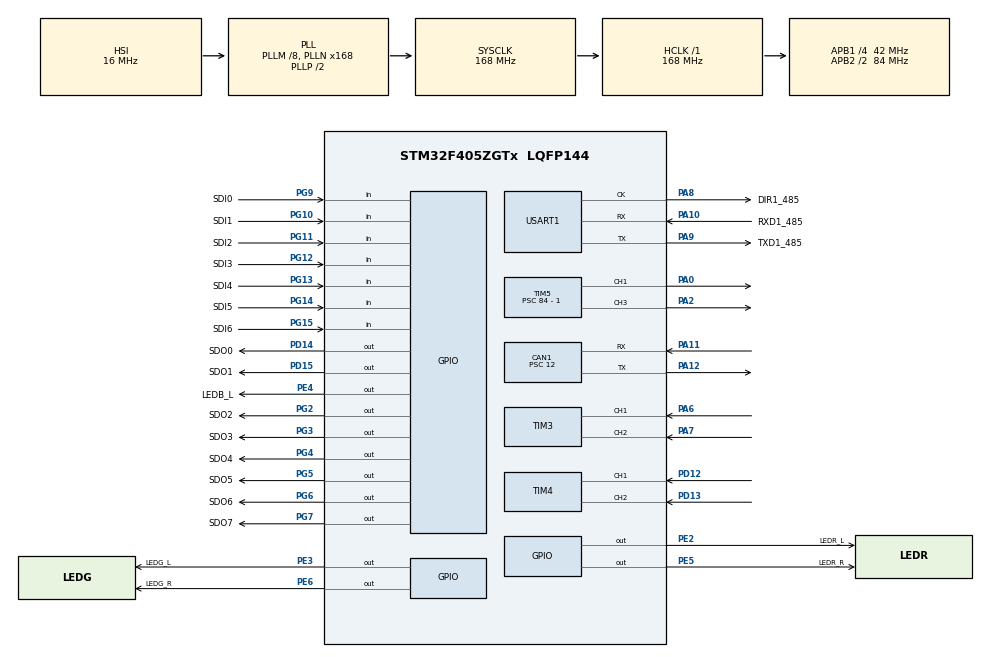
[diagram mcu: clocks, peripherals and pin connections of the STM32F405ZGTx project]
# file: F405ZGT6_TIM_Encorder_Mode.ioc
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CAN1.BS1=CAN_BS1_11TQ
CAN1.BS2=CAN_BS2_2TQ
CAN1.CalculateBaudRate=250000
CAN1.CalculateTimeBit=4000
CAN1.CalculateTimeQuantum=285.7142857142857
CAN1.Prescaler=12
Mcu.Family=STM32F4
Mcu.Name=STM32F405ZGTx
Mcu.Package=LQFP144
NVIC.CAN1_RX0_IRQn=true\:0\:0\:false\:false\:true\:true\:true\:true
NVIC.CAN1_RX1_IRQn=true\:0\:0\:false\:false\:true\:true\:true\:true
NVIC.CAN1_SCE_IRQn=true\:0\:0\:false\:false\:true\:true\:true\:true
NVIC.CAN1_TX_IRQn=true\:0\:0\:false\:false\:true\:true\:true\:true
NVIC.PriorityGroup=NVIC_PRIORITYGROUP_4
PA0-WKUP.Signal=S_TIM5_CH1
PA10.GPIO_Label=RXD1_485
PA10.Mode=Synchronous
PA10.Signal=USART1_RX
PA11.Mode=CAN_Activate
PA11.Signal=CAN1_RX
PA12.Mode=CAN_Activate
PA12.Signal=CAN1_TX
PA13.Mode=JTAG_5_pins
PA13.Signal=SYS_JTMS-SWDIO
PA14.Mode=JTAG_5_pins
PA14.Signal=SYS_JTCK-SWCLK
PA15.Mode=JTAG_5_pins
PA15.Signal=SYS_JTDI
PA2.Signal=S_TIM5_CH3
PA6.Signal=S_TIM3_CH1
PA7.Signal=S_TIM3_CH2
PA8.GPIO_Label=DIR1_485
PA8.Mode=Synchronous
PA8.Signal=USART1_CK
PA9.GPIO_Label=TXD1_485
PA9.Mode=Synchronous
PA9.Signal=USART1_TX
PB3.Mode=JTAG_5_pins
PB3.Signal=SYS_JTDO-SWO
PB4.Mode=JTAG_5_pins
PB4.Signal=SYS_JTRST
PD12.Signal=S_TIM4_CH1
PD13.Signal=S_TIM4_CH2
PD14.GPIO_Label=SDO0
PD14.Signal=GPIO_Output
PD15.GPIO_Label=SDO1
PD15.Signal=GPIO_Output
PE2.GPIO_Label=LEDR_L
PE2.Signal=GPIO_Output
PE3.GPIO_Label=LEDG_L
PE3.Signal=GPIO_Output
PE4.GPIO_Label=LEDB_L
PE4.Signal=GPIO_Output
PE5.GPIO_Label=LEDR_R
PE5.Signal=GPIO_Output
PE6.GPIO_Label=LEDG_R
PE6.Signal=GPIO_Output
PG10.GPIO_Label=SDI1
PG10.Signal=GPIO_Input
PG11.GPIO_Label=SDI2
PG11.Signal=GPIO_Input
PG12.GPIO_Label=SDI3
PG12.Signal=GPIO_Input
PG13.GPIO_Label=SDI4
PG13.Signal=GPIO_Input
PG14.GPIO_Label=SDI5
PG14.Signal=GPIO_Input
PG15.GPIO_Label=SDI6
PG15.Signal=GPIO_Input
PG2.GPIO_Label=SDO2
PG2.Signal=GPIO_Output
PG3.GPIO_Label=SDO3
PG3.Signal=GPIO_Output
PG4.GPIO_Label=SDO4
PG4.Signal=GPIO_Output
PG5.GPIO_Label=SDO5
PG5.Signal=GPIO_Output
PG6.GPIO_Label=SDO6
PG6.Signal=GPIO_Output
PG7.GPIO_Label=SDO7
PG7.Signal=GPIO_Output
PG9.GPIO_Label=SDI0
PG9.Signal=GPIO_Input
PH0-OSC_IN.Mode=HSE-External-Oscillator
PH0-OSC_IN.Signal=RCC_OSC_IN
PH1-OSC_OUT.Mode=HSE-External-Oscillator
PH1-OSC_OUT.Signal=RCC_OSC_OUT
ProjectManager.HeapSize=0x200
ProjectManager.StackSize=0x400
ProjectManager.TargetToolchain=STM32CubeIDE
RCC.48MHZClocksFreq_Value=84000000
RCC.AHBFreq_Value=168000000
RCC.APB1CLKDivider=RCC_HCLK_DIV4
RCC.APB1Freq_Value=42000000
RCC.APB1TimFreq_Value=84000000
RCC.APB2CLKDivider=RCC_HCLK_DIV2
RCC.APB2Freq_Value=84000000
RCC.APB2TimFreq_Value=168000000
RCC.CortexFreq_Value=168000000
RCC.HCLKFreq_Value=168000000
RCC.HSE_VALUE=8000000
RCC.HSI_VALUE=16000000
RCC.LSE_VALUE=32768
RCC.PLLM=8
RCC.PLLN=168
RCC.SYSCLKFreq_VALUE=168000000
RCC.SYSCLKSource=RCC_SYSCLKSOURCE_PLLCLK
RCC.VCOOutputFreq_Value=336000000
SH.S_TIM3_CH1.0=TIM3_CH1,Encoder_Interface
SH.S_TIM3_CH2.0=TIM3_CH2,Encoder_Interface
SH.S_TIM4_CH1.0=TIM4_CH1,Encoder_Interface
SH.S_TIM4_CH2.0=TIM4_CH2,Encoder_Interface
SH.S_TIM5_CH1.0=TIM5_CH1,PWM Generation1 CH1
SH.S_TIM5_CH3.0=TIM5_CH3,PWM Generation3 CH3
TIM3.EncoderMode=TIM_ENCODERMODE_TI12
TIM5.AutoReloadPreload=TIM_AUTORELOAD_PRELOAD_ENABLE
TIM5.Channel-PWM\ Generation1\ CH1=TIM_CHANNEL_1
TIM5.Channel-PWM\ Generation3\ CH3=TIM_CHANNEL_3
TIM5.OCPolarity_1=TIM_OCPOLARITY_HIGH
TIM5.OCPolarity_3=TIM_OCPOLARITY_HIGH
TIM5.Period=1000-1
TIM5.Prescaler=84 - 1 
USART1.VirtualMode=VM_SYNC
VP_TIM5_VS_ClockSourceINT.Mode=Internal
board=custom

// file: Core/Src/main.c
/* USER CODE BEGIN Header */
/**
  ******************************************************************************
  * @file           : main.c
  * @brief          : Main program body
  ******************************************************************************
  * @attention
  *
  * Copyright (c) 2024 STMicroelectronics.
  * All rights reserved.
  *
  * This software is licensed under terms that can be found in the LICENSE file
  * in the root directory of this software component.
  * If no LICENSE file comes with this software, it is provided AS-IS.
  *
  ******************************************************************************
  */
/* USER CODE END Header */
#include "main.h"

/* USER CODE BEGIN PTD */
typedef struct
{
	uint16_t encoder_cnt;
	uint8_t	rotate_dir;	// 0:CCW, 1: CW
} Encoder_StatusTypeDef;

/* USER CODE END PTD */

CAN_HandleTypeDef hcan1;

TIM_HandleTypeDef htim3;
TIM_HandleTypeDef htim4;
TIM_HandleTypeDef htim5;

USART_HandleTypeDef husart1;

/* USER CODE BEGIN PV */
uint32_t forward_encoder_cnt, backward_encoder_cnt;
uint32_t pre_encoder, cur_encoder;
Encoder_StatusTypeDef encoder_status;
uint8_t motor_on;
/* USER CODE END PV */

void SystemClock_Config(void);
static void MX_GPIO_Init(void);
static void MX_CAN1_Init(void);
static void MX_USART1_Init(void);
static void MX_TIM3_Init(void);
static void MX_TIM4_Init(void);
static void MX_TIM5_Init(void);
/* USER CODE BEGIN PFP */
Encoder_StatusTypeDef Encorder_Cnt(TIM_HandleTypeDef *htim);
/* USER CODE END PFP */

int main(void)
{

  /* MCU Configuration--------------------------------------------------------*/

  /* Reset of all peripherals, Initializes the Flash interface and the Systick. */
  HAL_Init();

  /* Configure the system clock */
  SystemClock_Config();

  /* Initialize all configured peripherals */
  MX_GPIO_Init();
  MX_CAN1_Init();
  MX_USART1_Init();
  MX_TIM3_Init();
  MX_TIM4_Init();
  MX_TIM5_Init();
  /* USER CODE BEGIN 2 */
  if (HAL_TIM_Encoder_Start(&htim3, TIM_CHANNEL_ALL) != HAL_OK)
  {
  	Error_Handler();
  }

	// servo on
	HAL_GPIO_WritePin(GPIOD, SDO0_Pin, GPIO_PIN_SET);
	HAL_GPIO_WritePin(GPIOG, SDO4_Pin, GPIO_PIN_SET);

	// EM2 release
	HAL_GPIO_WritePin(GPIOG, SDO3_Pin, GPIO_PIN_SET);
	HAL_GPIO_WritePin(GPIOG, SDO7_Pin, GPIO_PIN_SET);

	// LSP on
	HAL_GPIO_WritePin(GPIOG, SDO2_Pin, GPIO_PIN_SET);
	HAL_GPIO_WritePin(GPIOG, SDO6_Pin, GPIO_PIN_SET);

	// PWM on
	if (HAL_TIM_PWM_Start(&htim5, TIM_CHANNEL_1) != HAL_OK)
	{
		Error_Handler();
	}

  /* USER CODE END 2 */

  /* Infinite loop */
  while (1)
  {

    /* USER CODE BEGIN 3 */
  	if (motor_on)
  	{
  		htim5.Instance->ARR = 100-1;
  		htim5.Instance->CCR1 = 50;

  		encoder_status = Encorder_Cnt(&htim3);

			if (encoder_status.rotate_dir)
			{
				forward_encoder_cnt += encoder_status.encoder_cnt;
			}
			else
			{
				backward_encoder_cnt += encoder_status.encoder_cnt;
			}
  	}
  	else
  	{
  		htim5.Instance->CCR1 = 0;
  	}
//  	HAL_Delay(10);
  }
  /* USER CODE END 3 */
}

void SystemClock_Config(void)
{
  RCC_OscInitTypeDef RCC_OscInitStruct = {0};
  RCC_ClkInitTypeDef RCC_ClkInitStruct = {0};

  /** Configure the main internal regulator output voltage
  */
  __HAL_RCC_PWR_CLK_ENABLE();
  __HAL_PWR_VOLTAGESCALING_CONFIG(PWR_REGULATOR_VOLTAGE_SCALE1);

  /** Initializes the RCC Oscillators according to the specified parameters
  * in the RCC_OscInitTypeDef structure.
  */
  RCC_OscInitStruct.OscillatorType = RCC_OSCILLATORTYPE_HSI;
  RCC_OscInitStruct.HSIState = RCC_HSI_ON;
  RCC_OscInitStruct.HSICalibrationValue = RCC_HSICALIBRATION_DEFAULT;
  RCC_OscInitStruct.PLL.PLLState = RCC_PLL_ON;
  RCC_OscInitStruct.PLL.PLLSource = RCC_PLLSOURCE_HSI;
  RCC_OscInitStruct.PLL.PLLM = 8;
  RCC_OscInitStruct.PLL.PLLN = 168;
  RCC_OscInitStruct.PLL.PLLP = RCC_PLLP_DIV2;
  RCC_OscInitStruct.PLL.PLLQ = 4;
  if (HAL_RCC_OscConfig(&RCC_OscInitStruct) != HAL_OK)
  {
    Error_Handler();
  }

  /** Initializes the CPU, AHB and APB buses clocks
  */
  RCC_ClkInitStruct.ClockType = RCC_CLOCKTYPE_HCLK|RCC_CLOCKTYPE_SYSCLK
                              |RCC_CLOCKTYPE_PCLK1|RCC_CLOCKTYPE_PCLK2;
  RCC_ClkInitStruct.SYSCLKSource = RCC_SYSCLKSOURCE_PLLCLK;
  RCC_ClkInitStruct.AHBCLKDivider = RCC_SYSCLK_DIV1;
  RCC_ClkInitStruct.APB1CLKDivider = RCC_HCLK_DIV4;
  RCC_ClkInitStruct.APB2CLKDivider = RCC_HCLK_DIV2;

  if (HAL_RCC_ClockConfig(&RCC_ClkInitStruct, FLASH_LATENCY_5) != HAL_OK)
  {
    Error_Handler();
  }
}

static void MX_CAN1_Init(void)
{

  hcan1.Instance = CAN1;
  hcan1.Init.Prescaler = 12;
  hcan1.Init.Mode = CAN_MODE_NORMAL;
  hcan1.Init.SyncJumpWidth = CAN_SJW_1TQ;
  hcan1.Init.TimeSeg1 = CAN_BS1_11TQ;
  hcan1.Init.TimeSeg2 = CAN_BS2_2TQ;
  hcan1.Init.TimeTriggeredMode = DISABLE;
  hcan1.Init.AutoBusOff = DISABLE;
  hcan1.Init.AutoWakeUp = DISABLE;
  hcan1.Init.AutoRetransmission = DISABLE;
  hcan1.Init.ReceiveFifoLocked = DISABLE;
  hcan1.Init.TransmitFifoPriority = DISABLE;
  if (HAL_CAN_Init(&hcan1) != HAL_OK)
  {
    Error_Handler();
  }

}

static void MX_TIM3_Init(void)
{

  TIM_Encoder_InitTypeDef sConfig = {0};
  TIM_MasterConfigTypeDef sMasterConfig = {0};

  htim3.Instance = TIM3;
  htim3.Init.Prescaler = 0;
  htim3.Init.CounterMode = TIM_COUNTERMODE_UP;
  htim3.Init.Period = 65535;
  htim3.Init.ClockDivision = TIM_CLOCKDIVISION_DIV1;
  htim3.Init.AutoReloadPreload = TIM_AUTORELOAD_PRELOAD_DISABLE;
  sConfig.EncoderMode = TIM_ENCODERMODE_TI12;
  sConfig.IC1Polarity = TIM_ICPOLARITY_RISING;
  sConfig.IC1Selection = TIM_ICSELECTION_DIRECTTI;
  sConfig.IC1Prescaler = TIM_ICPSC_DIV1;
  sConfig.IC1Filter = 0;
  sConfig.IC2Polarity = TIM_ICPOLARITY_RISING;
  sConfig.IC2Selection = TIM_ICSELECTION_DIRECTTI;
  sConfig.IC2Prescaler = TIM_ICPSC_DIV1;
  sConfig.IC2Filter = 0;
  if (HAL_TIM_Encoder_Init(&htim3, &sConfig) != HAL_OK)
  {
    Error_Handler();
  }
  sMasterConfig.MasterOutputTrigger = TIM_TRGO_RESET;
  sMasterConfig.MasterSlaveMode = TIM_MASTERSLAVEMODE_DISABLE;
  if (HAL_TIMEx_MasterConfigSynchronization(&htim3, &sMasterConfig) != HAL_OK)
  {
    Error_Handler();
  }

}

static void MX_TIM4_Init(void)
{

  TIM_Encoder_InitTypeDef sConfig = {0};
  TIM_MasterConfigTypeDef sMasterConfig = {0};

  htim4.Instance = TIM4;
  htim4.Init.Prescaler = 0;
  htim4.Init.CounterMode = TIM_COUNTERMODE_UP;
  htim4.Init.Period = 65535;
  htim4.Init.ClockDivision = TIM_CLOCKDIVISION_DIV1;
  htim4.Init.AutoReloadPreload = TIM_AUTORELOAD_PRELOAD_DISABLE;
  sConfig.EncoderMode = TIM_ENCODERMODE_TI1;
  sConfig.IC1Polarity = TIM_ICPOLARITY_RISING;
  sConfig.IC1Selection = TIM_ICSELECTION_DIRECTTI;
  sConfig.IC1Prescaler = TIM_ICPSC_DIV1;
  sConfig.IC1Filter = 0;
  sConfig.IC2Polarity = TIM_ICPOLARITY_RISING;
  sConfig.IC2Selection = TIM_ICSELECTION_DIRECTTI;
  sConfig.IC2Prescaler = TIM_ICPSC_DIV1;
  sConfig.IC2Filter = 0;
  if (HAL_TIM_Encoder_Init(&htim4, &sConfig) != HAL_OK)
  {
    Error_Handler();
  }
  sMasterConfig.MasterOutputTrigger = TIM_TRGO_RESET;
  sMasterConfig.MasterSlaveMode = TIM_MASTERSLAVEMODE_DISABLE;
  if (HAL_TIMEx_MasterConfigSynchronization(&htim4, &sMasterConfig) != HAL_OK)
  {
    Error_Handler();
  }

}

static void MX_TIM5_Init(void)
{

  TIM_ClockConfigTypeDef sClockSourceConfig = {0};
  TIM_MasterConfigTypeDef sMasterConfig = {0};
  TIM_OC_InitTypeDef sConfigOC = {0};

  htim5.Instance = TIM5;
  htim5.Init.Prescaler = 84 - 1 ;
  htim5.Init.CounterMode = TIM_COUNTERMODE_UP;
  htim5.Init.Period = 1000-1;
  htim5.Init.ClockDivision = TIM_CLOCKDIVISION_DIV1;
  htim5.Init.AutoReloadPreload = TIM_AUTORELOAD_PRELOAD_ENABLE;
  if (HAL_TIM_Base_Init(&htim5) != HAL_OK)
  {
    Error_Handler();
  }
  sClockSourceConfig.ClockSource = TIM_CLOCKSOURCE_INTERNAL;
  if (HAL_TIM_ConfigClockSource(&htim5, &sClockSourceConfig) != HAL_OK)
  {
    Error_Handler();
  }
  if (HAL_TIM_PWM_Init(&htim5) != HAL_OK)
  {
    Error_Handler();
  }
  sMasterConfig.MasterOutputTrigger = TIM_TRGO_RESET;
  sMasterConfig.MasterSlaveMode = TIM_MASTERSLAVEMODE_DISABLE;
  if (HAL_TIMEx_MasterConfigSynchronization(&htim5, &sMasterConfig) != HAL_OK)
  {
    Error_Handler();
  }
  sConfigOC.OCMode = TIM_OCMODE_PWM1;
  sConfigOC.Pulse = 0;
  sConfigOC.OCPolarity = TIM_OCPOLARITY_HIGH;
  sConfigOC.OCFastMode = TIM_OCFAST_DISABLE;
  if (HAL_TIM_PWM_ConfigChannel(&htim5, &sConfigOC, TIM_CHANNEL_1) != HAL_OK)
  {
    Error_Handler();
  }
  if (HAL_TIM_PWM_ConfigChannel(&htim5, &sConfigOC, TIM_CHANNEL_3) != HAL_OK)
  {
    Error_Handler();
  }
  HAL_TIM_MspPostInit(&htim5);

}

static void MX_USART1_Init(void)
{

  husart1.Instance = USART1;
  husart1.Init.BaudRate = 115200;
  husart1.Init.WordLength = USART_WORDLENGTH_8B;
  husart1.Init.StopBits = USART_STOPBITS_1;
  husart1.Init.Parity = USART_PARITY_NONE;
  husart1.Init.Mode = USART_MODE_TX_RX;
  husart1.Init.CLKPolarity = USART_POLARITY_LOW;
  husart1.Init.CLKPhase = USART_PHASE_1EDGE;
  husart1.Init.CLKLastBit = USART_LASTBIT_DISABLE;
  if (HAL_USART_Init(&husart1) != HAL_OK)
  {
    Error_Handler();
  }

}

static void MX_GPIO_Init(void)
{
  GPIO_InitTypeDef GPIO_InitStruct = {0};

  /* GPIO Ports Clock Enable */
  __HAL_RCC_GPIOE_CLK_ENABLE();
  __HAL_RCC_GPIOH_CLK_ENABLE();
  __HAL_RCC_GPIOA_CLK_ENABLE();
  __HAL_RCC_GPIOD_CLK_ENABLE();
  __HAL_RCC_GPIOG_CLK_ENABLE();
  __HAL_RCC_GPIOB_CLK_ENABLE();

  /*Configure GPIO pin Output Level */
  HAL_GPIO_WritePin(GPIOE, LEDR_L_Pin|LEDG_L_Pin|LEDB_L_Pin|LEDR_R_Pin
                          |LEDG_R_Pin, GPIO_PIN_RESET);

  /*Configure GPIO pin Output Level */
  HAL_GPIO_WritePin(GPIOD, SDO0_Pin|SDO1_Pin, GPIO_PIN_RESET);

  /*Configure GPIO pin Output Level */
  HAL_GPIO_WritePin(GPIOG, SDO2_Pin|SDO3_Pin|SDO4_Pin|SDO5_Pin
                          |SDO6_Pin|SDO7_Pin, GPIO_PIN_RESET);

  /*Configure GPIO pins : LEDR_L_Pin LEDG_L_Pin LEDB_L_Pin LEDR_R_Pin
                           LEDG_R_Pin */
  GPIO_InitStruct.Pin = LEDR_L_Pin|LEDG_L_Pin|LEDB_L_Pin|LEDR_R_Pin
                          |LEDG_R_Pin;
  GPIO_InitStruct.Mode = GPIO_MODE_OUTPUT_PP;
  GPIO_InitStruct.Pull = GPIO_NOPULL;
  GPIO_InitStruct.Speed = GPIO_SPEED_FREQ_LOW;
  HAL_GPIO_Init(GPIOE, &GPIO_InitStruct);

  /*Configure GPIO pins : SDO0_Pin SDO1_Pin */
  GPIO_InitStruct.Pin = SDO0_Pin|SDO1_Pin;
  GPIO_InitStruct.Mode = GPIO_MODE_OUTPUT_PP;
  GPIO_InitStruct.Pull = GPIO_NOPULL;
  GPIO_InitStruct.Speed = GPIO_SPEED_FREQ_LOW;
  HAL_GPIO_Init(GPIOD, &GPIO_InitStruct);

  /*Configure GPIO pins : SDO2_Pin SDO3_Pin SDO4_Pin SDO5_Pin
                           SDO6_Pin SDO7_Pin */
  GPIO_InitStruct.Pin = SDO2_Pin|SDO3_Pin|SDO4_Pin|SDO5_Pin
                          |SDO6_Pin|SDO7_Pin;
  GPIO_InitStruct.Mode = GPIO_MODE_OUTPUT_PP;
  GPIO_InitStruct.Pull = GPIO_NOPULL;
  GPIO_InitStruct.Speed = GPIO_SPEED_FREQ_LOW;
  HAL_GPIO_Init(GPIOG, &GPIO_InitStruct);

  /*Configure GPIO pins : SDI0_Pin SDI1_Pin SDI2_Pin SDI3_Pin
                           SDI4_Pin SDI5_Pin SDI6_Pin */
  GPIO_InitStruct.Pin = SDI0_Pin|SDI1_Pin|SDI2_Pin|SDI3_Pin
                          |SDI4_Pin|SDI5_Pin|SDI6_Pin;
  GPIO_InitStruct.Mode = GPIO_MODE_INPUT;
  GPIO_InitStruct.Pull = GPIO_NOPULL;
  HAL_GPIO_Init(GPIOG, &GPIO_InitStruct);

}

/* USER CODE BEGIN 4 */
Encoder_StatusTypeDef Encorder_Cnt(TIM_HandleTypeDef *htim)
{
	Encoder_StatusTypeDef encoder_status = {0, 0};

	cur_encoder = htim->Instance->CNT;	// update encoder value

	// update dir
	if (__HAL_TIM_IS_TIM_COUNTING_DOWN(&htim3))
	{
		encoder_status.rotate_dir = 1;

		// check __HAL_TIM_IS_TIM_COUNTING_DOWN
		if ((cur_encoder > pre_encoder) && (cur_encoder - pre_encoder < 10))
		{
			encoder_status.rotate_dir = 0;
		}
	}
	else
	{
		encoder_status.rotate_dir = 0;

		// check __HAL_TIM_IS_TIM_COUNTING_DOWN
		if ((pre_encoder > cur_encoder) && (pre_encoder - cur_encoder < 10))
		{
			encoder_status.rotate_dir = 1;
		}
	}

	if (cur_encoder != pre_encoder)
	{
		if (encoder_status.rotate_dir)
		{
			// down count
			if(pre_encoder > cur_encoder)
			{
				encoder_status.encoder_cnt = (pre_encoder - cur_encoder);
			}
			else
			{
				encoder_status.encoder_cnt = ((htim3.Instance->ARR + pre_encoder) - cur_encoder);
			}
		}
		else
		{
			// up count
			if(cur_encoder >= pre_encoder)
			{
				encoder_status.encoder_cnt = (cur_encoder - pre_encoder);
			}
			else
			{
				encoder_status.encoder_cnt = ((htim3.Instance->ARR + cur_encoder) - pre_encoder);
			}
		}

		pre_encoder = cur_encoder;
	}
	return encoder_status;
}
/* USER CODE END 4 */

void Error_Handler(void)
{
  __disable_irq();
  while (1)
  {
  }
}
